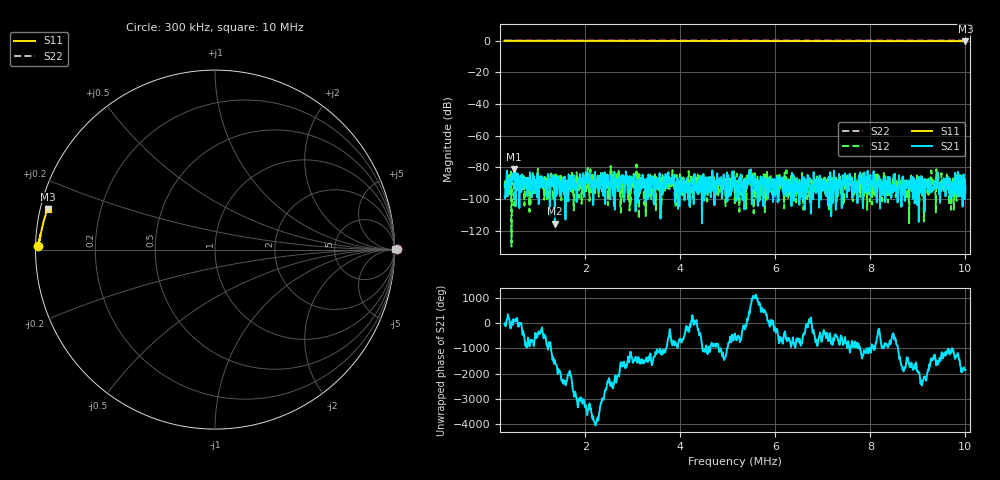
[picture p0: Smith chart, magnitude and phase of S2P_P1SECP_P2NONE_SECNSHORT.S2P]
!Keysight Technologies,E5061B,MY49709559,B.05.06
!Date: Fri Apr 08 00:46:48 2022
!Data & Calibration Information:
!Freq	S11:SOLT2(ON)	S21:SOLT2(ON)	S12:SOLT2(ON)	S22:SOLT2(ON)
# Hz S RI R 50
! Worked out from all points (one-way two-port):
!   1000 points, 300 kHz to 10 MHz, reference 50 ohm
!   highest |S21| = -81.31 dB at 503.9 kHz (marker M1); lowest = -115.6 dB at 1.358 MHz (marker M2)
!   lowest |S11| = -0.4 dB at 10 MHz (marker M3), VSWR 49.32, Z = 1.03 + j5.99 ohm
!   |S11| at or under -10 dB: nowhere
!   |S22| runs from 0.0 to 0.1 dB; largest |S21 - S12| = 0.00013
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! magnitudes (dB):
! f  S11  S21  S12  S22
! 300 kHz  -0.1  -98.2  -93.3  0.1
! 368 kHz  -0.1  -97.8  -88.5  0.0
! 503.9 kHz  -0.1  -81.3  -104.3  0.0
! 571.9 kHz  -0.1  -93.5  -86.5  0.0
! 785.5 kHz  -0.1  -86.7  -98.4  0.0
! 1.358 MHz  -0.2  -115.6  -84.8  0.0
! 1.922 MHz  -0.2  -91.0  -103.1  0.0
! 2.475 MHz  -0.2  -85.1  -104.0  0.0
! 2.485 MHz  -0.2  -89.4  -86.8  0.0
! 2.543 MHz  -0.2  -85.0  -90.2  0.0
! 2.582 MHz  -0.2  -97.2  -95.7  0.0
! 2.591 MHz  -0.2  -86.5  -98.4  0.0
! 3.019 MHz  -0.2  -90.5  -84.1  0.0
! 3.028 MHz  -0.2  -84.8  -88.9  0.0
! 3.087 MHz  -0.2  -97.9  -91.7  0.0
! 3.126 MHz  -0.2  -90.2  -112.7  0.0
! 3.135 MHz  -0.2  -94.1  -84.3  0.0
! 3.543 MHz  -0.2  -87.6  -91.2  0.0
! 5.155 MHz  -0.3  -86.5  -88.7  0.0
! 6.767 MHz  -0.3  -97.2  -89.6  0.0
! 8.388 MHz  -0.3  -86.4  -90.3  0.0
! 10 MHz  -0.4  -96.2  -93.6  0.0
